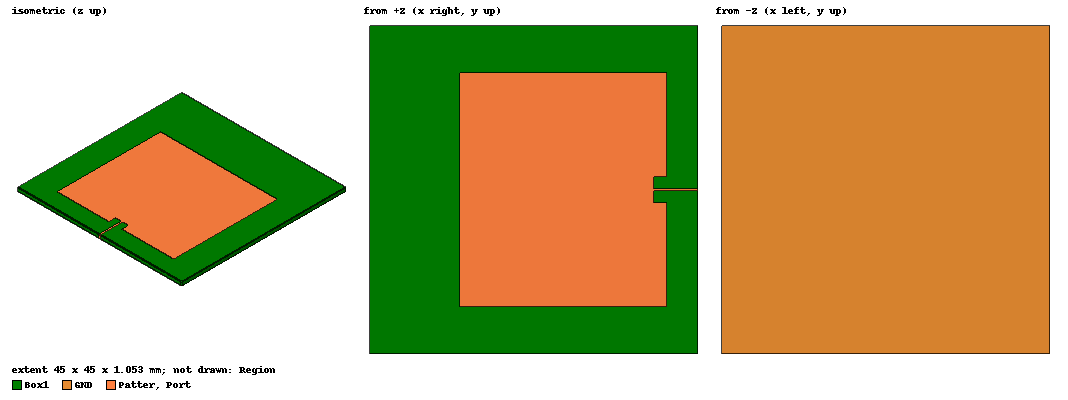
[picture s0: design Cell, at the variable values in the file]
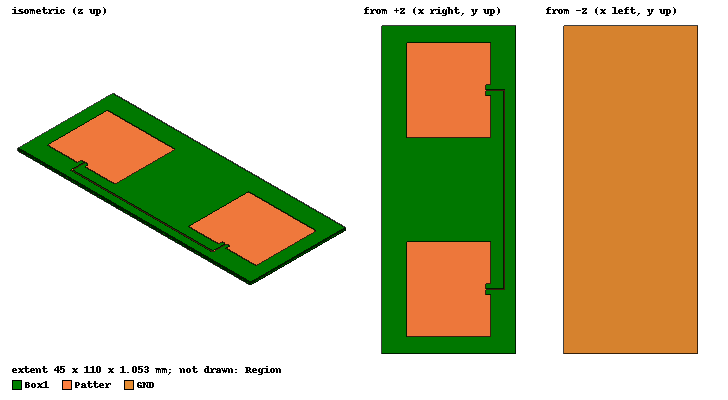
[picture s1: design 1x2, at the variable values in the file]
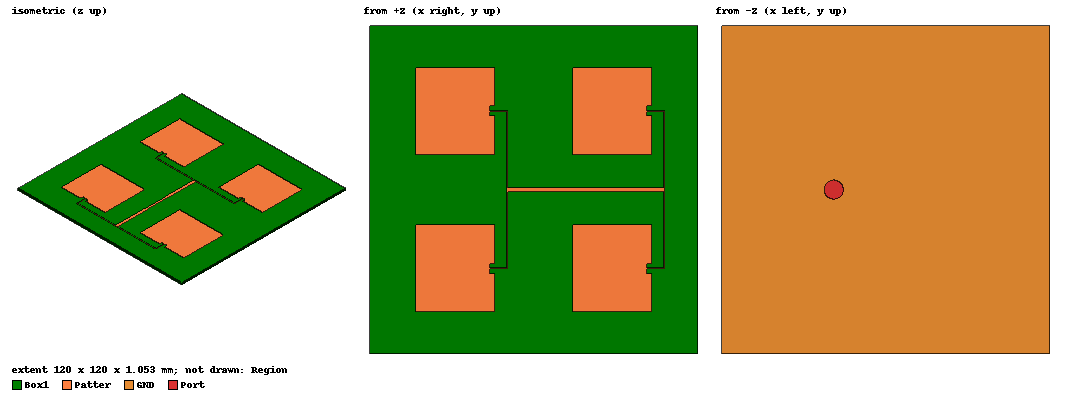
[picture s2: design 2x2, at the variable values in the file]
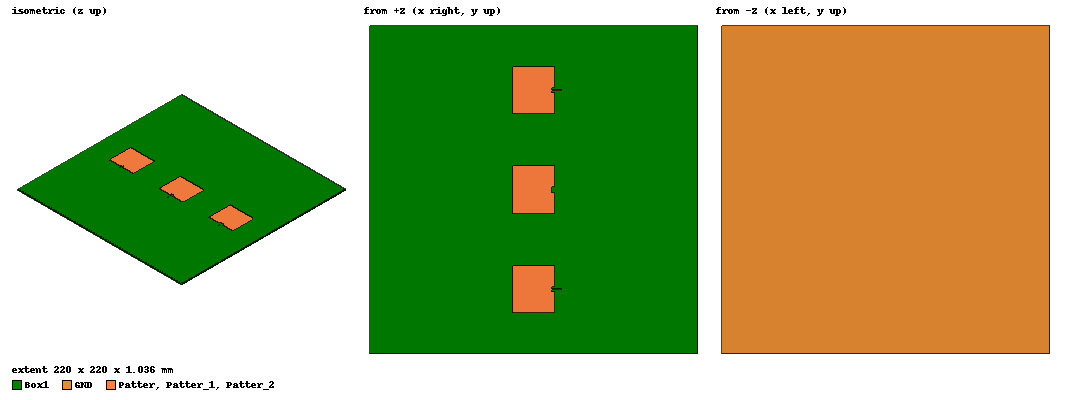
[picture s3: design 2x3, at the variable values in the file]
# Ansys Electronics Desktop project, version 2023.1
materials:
  vacuum: permittivity=1
  FR4_epoxy: permittivity=4.4 dielectric_loss_tangent=0.02
  copper: permeability=0.999991 conductivity=58000000
  pec: conductivity=1e+30

design Cell (HFSS, HFSS Modal Network, model units mm)
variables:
  Wg = 45mm
  Lg = 45mm
  depth = 1mm
  W0 = 0.4mm  # 100R; optimise 0.2mm..0.6mm
  t = 0.035mm
  L = 28.4mm
  i = 1.6mm  # optimise 2mm..6mm
  length = 4mm  # 100R
  s = 1.8mm
  W = 32mm  # optimise 34mm..38mm
  lambda = 123mm
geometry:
  GND [copper] = rectangle(corner=(-Lg/2, -Wg/2, 0mm), x_size=Lg, y_size=Wg)
  Box1 [FR4_epoxy] = box(corner=(-Lg/2, -Wg/2, 0mm), size=(Lg, Wg, depth))
  Port = rectangle(corner=(Lg/2, -W0/2, 0mm), y_size=W0, z_size=depth+t)
  Patter [copper] = rectangle(corner=(-L/2+length, -W/2, depth), x_size=L, y_size=W)
  Patter.thicken(0.018mm)
  Box2 = box(corner=(L/2+length-s, -i-W0/2, depth), size=(s, i, t))
  Box2_1 = Box2.duplicate_mirror(point=(0mm, 0mm, 0mm), normal=(0mm, 1mm, 0mm))
  Patter.subtract(Box2, Box2_1)
  wire_100 = rectangle(corner=(L/2+length, -W0/2, depth), x_size=Lg/2-L/2-length, y_size=W0)
  wire_100.thicken(0.018mm)
  Patter.unite(wire_100)
  GND.thicken(-0.018mm)
  Region [vacuum] = region(absolute_offset=lambda/4 on all sides)
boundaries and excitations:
  Rad1: Radiation Objects=Region
  1: Lumped Port Objects=Port LumpedPortType=Modal Modes{Mode1{IntLine{(22.5, 0, 1.035) -> (22.5, 0, 0)} CharImp=Zpi RenormImp=100ohm}} Impedance=100ohm
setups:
  Setup1: HfssDriven Frequency=2.44GHz MaxDeltaS=0.02 MaximumPasses=25 MinimumPasses=1 MinimumConvergedPasses=1 PercentRefinement=30 BasisOrder=1 PortAccuracy=2 DrivenSolverType="Direct Solver"
    sweep Sweep: 2.2GHz to 2.6GHz, 401 points; Type=Interpolating InterpTolerance=0.5 InterpMaxSolns=250 InterpUsePortImped=false PassivityErrorTolerance=0.0001
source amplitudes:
  1:1: 1V 0deg
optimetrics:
  OptimizationSetup1: Optimization Optimizer="Genetic Algorithm" AnalysisStopOptions{StopForNumIteration MaxNumIteration=1000 MinNumIteration=10} CostFuncNormType=L2 GAOptions{NumParents=30 ProportionOfParentSelProb=10 MatingPoolSize=30 NumChildren=30 NumParetoSurvivors=10 PopulationSize=30 RouletteSurvivorSelection ProportionOfSurvivorSelProb=10 CrossoverScheme=3 CrossoverProbability=1 VariableCrossoverProbability=1 VariableExchangeProbability=0 MuCross=1 GammaCross=0.5 NumMatingParents=2 MutationDistribution=2 UniformMutationProbability=0 MutationProbability=1 VariableMutationProbability=1 SigmaMut=0.05 SimplexMirrorProbability=0.1 MuMut=10} Acceptable_Cost=0 Noise=0.0001 UpdateDesignWhenDone
    goal dB(St(1,1)) <= -12 weight 1 on Setup1 : Sweep at Freq 2.4GHz to 2.5GHz
  ParametricSetup1: Parametric Sim._Setups=[Setup1]
    sweep i: LIN 2mm 6mm 1mm
  ParametricSetup2: Parametric Sim._Setups=[Setup1]
    sweep s: LIN 1.6mm 2.4mm 0.2mm
  ParametricSetup3: Parametric Sim._Setups=[Setup1]
    sweep W: LIN 28mm 36mm 2mm
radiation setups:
  2D: Infinite Sphere Theta=-180deg..180deg step 1deg Phi=0deg..90deg step 90deg
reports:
  S Parameter Plot 1: dB(S(1,1)) vs Freq on Setup1 : Sweep [L=all i=all s=all W=all]
  Gain Plot 1: dB(GainTotal) vs Theta on Setup1 : LastAdaptive, 2D [Phi=all Freq=2.44GHz i=all]

design 1x2 (HFSS, HFSS Modal Network, model units mm)
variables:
  Lg = 45mm
  Wg = 110mm
  depth = 1mm
  W0 = 0.4mm  # 100R
  t = 0.035mm
  i = 1.6mm
  s = 1.8mm
  L = 28.4mm
  length = 4.3mm  # 100R
  W = 32mm
  lambda = 123mm
  d = 66.7mm
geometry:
  GND [copper] = rectangle(corner=(-Lg/2, -Wg/2, 0mm), x_size=Lg, y_size=Wg)
  GND.thicken(-0.018mm)
  Box1 [FR4_epoxy] = box(corner=(-Lg/2, -Wg/2, 0mm), size=(Lg, Wg, depth))
  Patter [copper] = rectangle(corner=(-L/2, -W/2, depth), x_size=L, y_size=W)
  Patter.thicken(0.018mm)
  Box2 = box(corner=(L/2-s, -i-W0/2, depth), size=(s, i, t))
  Box2_1 = Box2.duplicate_mirror(point=(0mm, 0mm, 0mm), normal=(0mm, 1mm, 0mm))
  Patter.subtract(Box2, Box2_1)
  wire_100 = rectangle(corner=(L/2, -W0/2, depth), x_size=length, y_size=W0)
  wire_100.thicken(0.018mm)
  Patter.unite(wire_100)
  Patter.move(0mm, -d/2, 0mm)
  wire2 = box(corner=(L/2+length, -d/2-W0/2, depth), size=(W0, d/2+W0/2, t))
  Patter.unite(wire2)
  Patter_1 = Patter.duplicate_mirror(point=(0mm, 0mm, 0mm), normal=(0mm, 1mm, 0mm))
  Patter.unite(Patter_1)
  Port = rectangle(corner=(L/2+length+W0, -0.9mm, 0mm), y_size=1.8mm, z_size=depth+t)
  Region [vacuum] = region(absolute_offset=lambda/4 on all sides)
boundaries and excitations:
  Rad1: Radiation Objects=Region
  1: Lumped Port Objects=Port LumpedPortType=Modal Modes{Mode1{IntLine{(18.9, 0, 0) -> (18.9, 0, 1.035)} CharImp=Zpi RenormImp=50ohm}} Impedance=50ohm
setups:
  Setup1: HfssDriven Frequency=2.44GHz MaxDeltaS=0.02 MaximumPasses=25 MinimumPasses=1 MinimumConvergedPasses=1 PercentRefinement=30 BasisOrder=1 PortAccuracy=2 DrivenSolverType="Direct Solver"
    sweep Sweep: 2.3GHz to 2.6GHz, 401 points; Type=Interpolating InterpTolerance=0.5 InterpMaxSolns=250 InterpUsePortImped=false PassivityErrorTolerance=0.0001
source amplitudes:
  1:1: 1V 0deg
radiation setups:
  2D: Infinite Sphere Theta=-180deg..180deg step 1deg Phi=0deg..90deg step 90deg
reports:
  Gain Plot 1: dB(GainTotal) vs Theta on Setup1 : LastAdaptive, 2D [Phi=all Freq=2.44GHz]; markers m1 at 0deg
  S Parameter Plot 1: dB(S(1,1)) vs Freq on Setup1 : Sweep

design 2x2 (HFSS, HFSS Modal Network, model units mm)
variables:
  Lg = 120mm
  Wg = 120mm
  depth = 1mm
  t = 0.035mm
  W0 = 0.4mm  # 100R
  i = 1.6mm
  L = 29mm
  length = 4.3mm  # 100R
  s = 1.8mm
  W = 32mm
  d = 57.6mm  # optimise 50mm..66mm
  lambda = 123mm
  w21 = 1.8mm  # 70.7R; optimise 1mm..1.5mm
  l21 = 21mm  # 70.7R; optimise 12mm..30mm
  w22 = 1.2mm  # 50R; optimise 0.9mm..1.5mm
  xf = (L/2-d/2+length+W0+l21)/2+(L/2+d/2+length-l21)/2
  rf = 0.6mm
  rg = 3.5mm
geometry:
  GND [copper] = rectangle(corner=(-Lg/2, -Wg/2, 0mm), x_size=Lg, y_size=Wg)
  GND.thicken(-0.018mm)
  Box1 [FR4_epoxy] = box(corner=(-Lg/2, -Wg/2, 0mm), size=(Lg, Wg, depth))
  Patter [copper] = rectangle(corner=(-L/2, -W/2, depth), x_size=L, y_size=W)
  Patter.thicken(0.018mm)
  Box2 = box(corner=(L/2-s, -i-W0/2, depth), size=(s, i, t))
  Box2_1 = Box2.duplicate_mirror(point=(0mm, 0mm, 0mm), normal=(0mm, 1mm, 0mm))
  Patter.subtract(Box2, Box2_1)
  wire_100 = rectangle(corner=(L/2, -W0/2, depth), x_size=length, y_size=W0)
  wire_100.thicken(0.018mm)
  Patter.unite(wire_100)
  Patter.move(0mm, -d/2, 0mm)
  wire2 = box(corner=(L/2+length, -d/2-W0/2, depth), size=(W0, d/2+W0/2, t))
  Patter.unite(wire2)
  Patter_1 = Patter.duplicate_mirror(point=(0mm, 0mm, 0mm), normal=(0mm, 1mm, 0mm))
  Patter.unite(Patter_1)
  Patter.move(-d/2, 0mm, 0mm)
  wire21 = box(corner=(L/2-d/2+length+W0, -w21/2, depth), size=(l21, w21, t))
  Patter_2 = Patter.duplicate_along_line(step=(d, 0mm, 0mm), total=2)
  wire21_1 = box(corner=(L/2+d/2+length-l21, -w21/2, depth), size=(l21, w21, t))
  wire22 = box(corner=(L/2-d/2+length+W0+l21, -w22/2, depth), size=(-(L/2-d/2+length+W0+l21)+(L/2+d/2+length-l21), w22, t))
  Feed [pec] = cylinder(axis=Z, base_centre=(xf, 0mm, 0mm), radius=rf, height=depth)
  Patter.unite(Patter_2, wire21, wire21_1, wire22)
  Part1 = cylinder(axis=Z, base_centre=(xf, 0mm, 0mm), radius=rg, height=-t)
  GND.subtract(Part1)
  Port = circle(normal=Z, centre=(xf, 0mm, 0mm), radius=rg)
  Region [vacuum] = region(absolute_offset=lambda/4 on all sides)
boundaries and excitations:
  Rad1: Radiation Objects=Region
  1: Lumped Port Objects=Port LumpedPortType=Modal Modes{Mode1{IntLine{(15.5, 0, 0) -> (18.4, 0, 0)} CharImp=Zpi RenormImp=50ohm}} Impedance=50ohm
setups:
  Setup1: HfssDriven Frequency=2.44GHz MaxDeltaS=0.02 MaximumPasses=50 MinimumPasses=1 MinimumConvergedPasses=1 PercentRefinement=30 BasisOrder=1 PortAccuracy=2 DrivenSolverType="Direct Solver"
    sweep Sweep: 2.3GHz to 2.6GHz, 401 points; Type=Interpolating InterpTolerance=0.5 InterpMaxSolns=250 InterpUsePortImped=false PassivityErrorTolerance=0.0001
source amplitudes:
  1:1: 1W 0deg
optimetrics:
  ParametricSetup1: Parametric Sim._Setups=[Setup1]
    sweep l21: LIN 12mm 22mm 3mm
  ParametricSetup2: Parametric Sim._Setups=[Setup1]
    sweep w22: LIN 1.2mm 2.1mm 0.3mm
  ParametricSetup3: Parametric Sim._Setups=[Setup1]
    sweep w21: LIN 0.3mm 0.7mm 0.1mm
  OptimizationSetup1: Optimization Optimizer="Genetic Algorithm" AnalysisStopOptions{StopForNumIteration MaxNumIteration=1000 MinNumIteration=10} CostFuncNormType=L2 GAOptions{NumParents=30 ProportionOfParentSelProb=10 MatingPoolSize=30 NumChildren=30 NumParetoSurvivors=10 PopulationSize=30 RouletteSurvivorSelection ProportionOfSurvivorSelProb=10 CrossoverScheme=3 CrossoverProbability=1 VariableCrossoverProbability=1 VariableExchangeProbability=0 MuCross=1 GammaCross=0.5 NumMatingParents=2 MutationDistribution=2 UniformMutationProbability=0 MutationProbability=1 VariableMutationProbability=1 SigmaMut=0.05 SimplexMirrorProbability=0.1 MuMut=10} Acceptable_Cost=0 Noise=0.0001 UpdateDesignWhenDone
    vary d: Min=50mm Max=66mm MinStep=0.596mm MaxStep=5.96mm MinFocus=50mm MaxFocus=66mm start=57.6mm
    vary l21: Min=12mm Max=30mm MinStep=0.24mm MaxStep=2.4mm MinFocus=12mm MaxFocus=30mm start=21mm
    vary w21: Min=1mm Max=2.5mm MinStep=0.005mm MaxStep=0.05mm MinFocus=1mm MaxFocus=2.5mm start=1.8mm
    vary w22: Min=0.9mm Max=1.5mm MinStep=0.012mm MaxStep=0.12mm MinFocus=0.9mm MaxFocus=1.5mm start=1.2mm
    goal dB(GainTotal) >= 6.7 weight 1 on Setup1 : LastAdaptive at Theta -20deg,-19deg,-18deg,-17deg,-16deg,-15deg,-14deg,-13deg,-12deg,-11deg,-10deg,-9deg,-8deg,-7deg,-6deg,-5deg,-4deg,-3deg,-2deg,-1deg,0deg,1deg,2deg,3deg,4deg,5deg,6deg,7deg,8deg,9deg,10deg,11deg,12deg,1, Phi 0deg, Freq 2.44GHz
  ParametricSetup4: Parametric Sim._Setups=[Setup1]
    sweep d: LIN 57.6mm 65.6mm 2mm
  ParametricSetup5: Parametric Sim._Setups=[Setup1]
    sweep w21: LIN 1.3mm 1.8mm 0.1mm
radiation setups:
  2D: Infinite Sphere Theta=-180deg..180deg step 1deg Phi=0deg..90deg step 90deg
  3D: Infinite Sphere Theta=-180deg..180deg step 2deg Phi=-180deg..180deg step 2deg
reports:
  S11: dB(S(1,1)) vs Freq on Setup1 : Sweep; markers MY1 at y=-10
  Gain Plot 1: dB(GainTotal) vs Theta on Setup1 : LastAdaptive, 2D [Phi=all Freq=2.44GHz L=29mm w21=1.8mm]; markers m1 at 0deg, MY1 at y=2.81
  S Parameter Plot 2: dB(S(1,1)) vs Freq on Setup1 : Sweep [L=all l21=all]
  Gain Plot 2: dB(GainTotal) vs Theta on Setup1 : LastAdaptive, 2D; markers m1 at 0deg
  Gain Plot 3: dB(GainTotal) vs Phi, Theta on Setup1 : LastAdaptive, 3D [Freq=2.44GHz]
  Directivity Plot 1: DirTotal vs Theta on Setup1 : LastAdaptive, 2D [Phi=all Freq=2.44GHz d=all w21=all l21=all w22=all]; markers m1 at 0deg
  Gain Plot 4: GainTotal vs Theta on Setup1 : LastAdaptive, 2D [Phi=all Freq=2.44GHz d=all w21=all l21=all w22=all]; markers m1 at 0deg
  Directivity Plot 2: dB(DirTotal) vs Theta on Setup1 : LastAdaptive, 2D [Phi=all Freq=2.44GHz d=all w21=all l21=all w22=all]; markers m1 at 0deg, MY1 at y=7.6

design 2x3 (HFSS, HFSS Terminal Network, model units mm)
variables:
  Wg = 220mm
  Lg = 220mm
  depth = 1mm
  W = 32mm
  i = 1.6mm
  s = 1.8mm
  W0 = 0.4mm  # 100R
  L = 28.4mm
  d = 66.7mm
  length = 4.3mm  # 100R
  t = 0.035mm
  lambda = 123mm
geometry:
  GND [copper] = rectangle(corner=(-Lg/2, -Wg/2, 0mm), x_size=Lg, y_size=Wg)
  GND.thicken(-0.018mm)
  Box1 [FR4_epoxy] = box(corner=(-Lg/2, -Wg/2, 0mm), size=(Lg, Wg, depth))
  Patter [copper] = rectangle(corner=(-L/2, -W/2, depth), x_size=L, y_size=W)
  Patter.thicken(0.018mm)
  Box2 = box(corner=(L/2-s, -i-W0/2, depth), size=(s, i, t))
  Box2_1 = Box2.duplicate_mirror(point=(0mm, 0mm, 0mm), normal=(0mm, 1mm, 0mm))
  Patter.subtract(Box2, Box2_1)
  wire_100 = rectangle(corner=(L/2, -W0/2, depth), x_size=length, y_size=W0)
  wire_100.thicken(0.018mm)
  Patter.unite(wire_100)
  Patter_1 [copper] = Patter.duplicate_along_line(step=(0mm, -d, 0mm), total=2)
  Patter_2 [copper] = Patter.duplicate_along_line(step=(0mm, d, 0mm), total=2)
